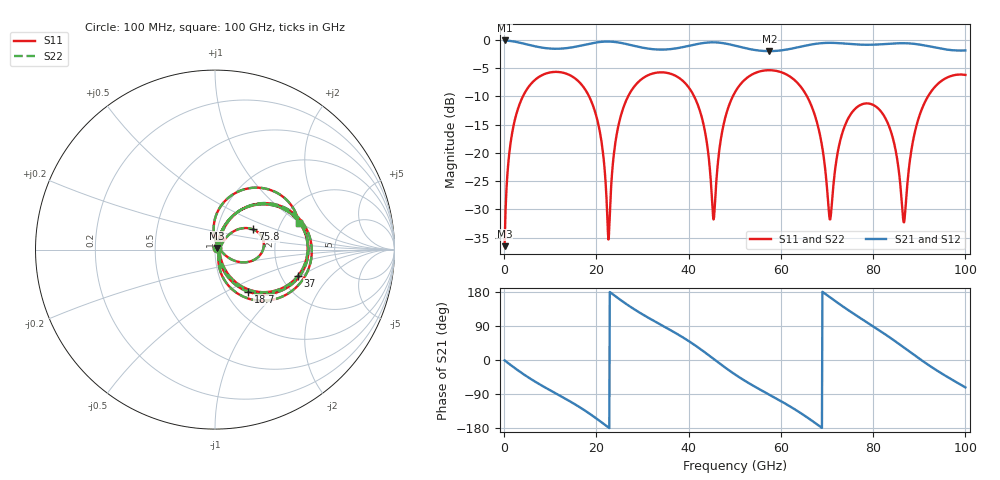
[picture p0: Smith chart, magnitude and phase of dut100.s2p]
! Touchstone file exported from HFSS 2026.1.0
!  File:  C:/ffzhzh/LocalFiles/Ansys_Project_Files/temp_train_TSV_RDL_100_1783455519_7600.aedt
!  Generated:  04:28:03 AM Jul  8, 2026
!  Design:  TSV_RDL
!  Project:  temp_train_TSV_RDL_100_1783455519_7600
! Variables:
!  h_bsmrdl = 2.46um
!  h_ox = 20um
!  h_rdl = 5um
!  h_sub = 57.52um
!  h_tmrdl = 4.8um
!  h_tsv = 57.52um
!  h_via = 3um
!  l_bsmrdl = 500.84um
!  l_sub = 2819.17um
!  l_tmrdl = 188.37um
!  m_sub = 200um
!  pitch = 56.44um
!  r_tsv = 7.9um
!  s_tmrdl = 10um
!  w_bsmrdl = 28.53um
!  w_sub = 500um
!  w_tmrdl = 25.86um
!  x_tsv_center1 = 201.3um
!  x_tsv_center2 = 730.67um
!  x_tsv_center3 = 944.9um
!  x_tsv_center4 = 1474.27um
!  x_tsv_center5 = 1688.5um
!  x_tsv_center6 = 2217.87um
# GHz S MA R 50.000000
! Terminal data exported
! Port[1] = TM_RDL1_1_T1
! Port[2] = TM_RDL5_1_T1
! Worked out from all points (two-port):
!   1000 points, 100 MHz to 100 GHz, reference 50 ohm
!   highest |S21| = -0.10 dB at 100 MHz (marker M1); lowest = -2.0 dB at 57.5 GHz (marker M2)
!   |S21| within 3 dB of the highest: start of sweep to end of sweep
!   lowest |S11| = -36.5 dB at 100 MHz (marker M3), VSWR 1.03, Z = 51.2 + j0.971 ohm
!   |S11| at or under -10 dB: 18.42 GHz to 26.87 GHz (8.453 GHz wide, 37.3 % of centre); 41.2 GHz to 49.57 GHz (8.376 GHz wide, 18.5 % of centre); 65.67 GHz to 91.89 GHz (26.22 GHz wide, 33.3 % of centre) (the widest 3 of 4)
!   |S22| runs from -36.5 to -5.4 dB; largest |S21 - S12| = 4.5e-13
!   S11 on the Smith chart (normalised r, x): 100 MHz: 1.02, +0.02; 18.7 GHz: 1.27, -0.65; 37 GHz: 2.47, -0.94; 75.8 GHz: 1.48, +0.36; 100 GHz: 2.48, +0.97
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0.1  0.01497 39.3  0.9885 -1.0  0.9885 -1.0  0.01497 39.3
! Gamma 0 0 0 0
! Port Impedance 50 0 50 0
1.6  0.1393 68.6  0.9747 -14.9  0.9747 -14.9  0.1393 68.6
4.4  0.3362 47.8  0.9236 -39.2  0.9236 -39.2  0.3362 47.8
16.8  0.4015 -37.6  0.8929 -127.8  0.8929 -127.8  0.4014 -37.6
18.7  0.299 -51.8  0.9281 -143.1  0.9281 -143.1  0.2989 -51.8
21  0.1342 -67.5  0.9605 -163.3  0.9605 -163.3  0.1342 -67.4
22.6  0.01714 -5.3  0.9666 -177.9  0.9666 -177.9  0.01738 -4.9
25.9  0.2549 58.1  0.9304 152.6  0.9304 152.6  0.255 58.0
33.4  0.515 5.9  0.8216 96.9  0.8216 96.9  0.5151 5.8
37  0.4848 -17.5  0.838 72.4  0.838 72.4  0.4849 -17.6
42.6  0.2245 -56.7  0.9305 28.4  0.9305 28.4  0.2244 -57.0
45.4  0.02581 0.6  0.9516 3.0  0.9516 3.0  0.02448 0.6
47.3  0.1572 65.6  0.938 -14.4  0.938 -14.4  0.1571 66.1
50.1  0.3471 47.3  0.8883 -38.5  0.8883 -38.5  0.3471 47.5
57.5  0.5394 -2.2  0.7953 -91.6  0.7953 -91.6  0.5395 -2.1
66.7  0.2566 -64.9  0.9115 -159.9  0.9115 -159.9  0.2567 -64.8
70.7  0.02585 -7.3  0.9419 164.9  0.9419 164.9  0.0261 -7.4
75.8  0.2387 28.3  0.9144 121.9  0.9144 121.9  0.2388 28.3
83.4  0.1743 -24.1  0.9242 61.3  0.9242 61.3  0.1743 -24.1
86.7  0.02432 36.0  0.9347 32.8  0.9347 32.8  0.02428 36.0
91  0.2693 79.3  0.8955 -4.9  0.8955 -4.9  0.2693 79.4
100  0.4897 17.7  0.8069 -72.3  0.8069 -72.3  0.4899 17.8
